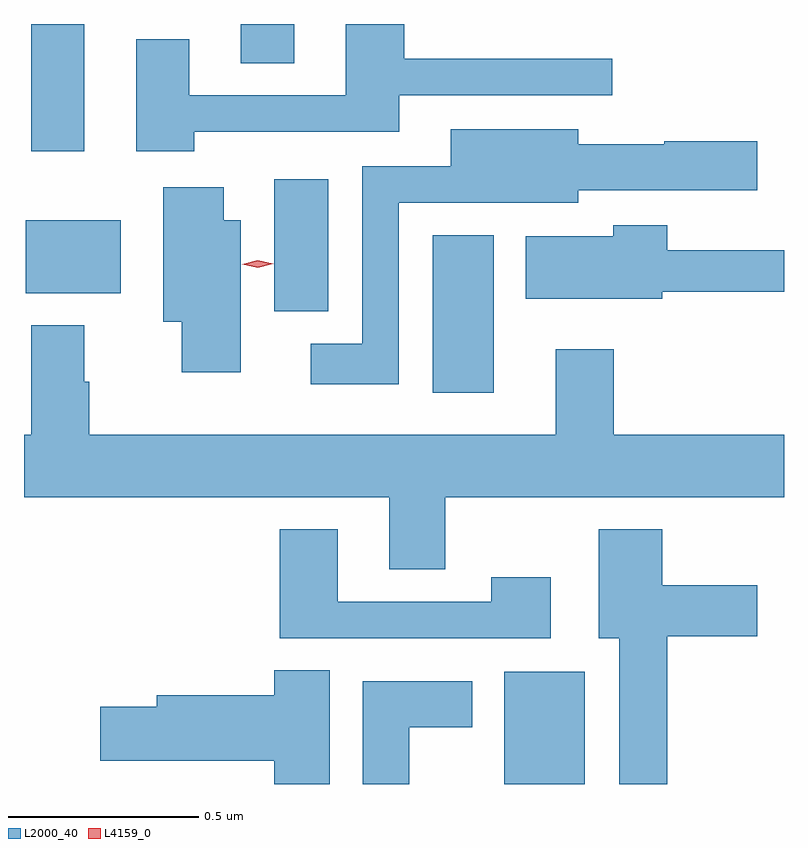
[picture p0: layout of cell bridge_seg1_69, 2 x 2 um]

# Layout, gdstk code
import gdstk
lib = gdstk.Library(unit=1e-6, precision=1e-09)
def R(c, l, rs):  # rectangles x0, y0, x1, y1
    for r in rs: c.add(gdstk.rectangle(r[:2], r[2:], *l))
def P(c, l, *ps):  # polygons
    for p in ps: c.add(gdstk.Polygon(p, *l))
L2000_40 = (2000, 40)
L4159_0 = (4159, 0)

bridge_seg1_69 = lib.new_cell('bridge_seg1_69')
R(bridge_seg1_69, L2000_40, [(503.84,581.613,504.052,581.908), (503.651,582.642,503.812,583.057), (503.234,582.857,503.377,583.204), (502.58,582.905,502.831,583.096), (502.595,583.278,502.735,583.613), (503.147,583.51,503.287,583.613)])
P(bridge_seg1_69, L2000_40, [(503.024,583.329),(503.563,583.329),(503.563,583.425),(504.124,583.425),(504.124,583.522),(503.576,583.522),(503.576,583.613),(503.423,583.613),(503.423,583.425),(503.011,583.425),(503.011,583.573),(502.871,583.573),(502.871,583.278),(503.024,583.278)],
  [(503.562,583.143),(503.808,583.143),(503.808,583.142),(504.034,583.142),(504.034,583.175),(504.505,583.175),(504.505,583.305),(504.261,583.305),(504.261,583.297),(504.034,583.297),(504.034,583.336),(503.699,583.336),(503.699,583.239),(503.466,583.239),(503.466,582.772),(503.331,582.772),(503.331,582.665),(503.562,582.665)],
  [(503.146,583.096),(503.101,583.096),(503.101,583.183),(502.943,583.183),(502.943,582.83),(502.991,582.83),(502.991,582.696),(503.146,582.696)],
  [(504.256,582.909),(504.576,582.909),(504.576,583.018),(504.269,583.018),(504.269,583.084),(504.127,583.084),(504.127,583.054),(503.897,583.054),(503.897,582.89),(504.256,582.89)],
  [(503.685,582.368),(504.576,582.368),(504.576,582.532),(504.128,582.532),(504.128,582.757),(503.975,582.757),(503.975,582.532),(502.748,582.532),(502.748,582.671),(502.735,582.671),(502.735,582.82),(502.595,582.82),(502.595,582.532),(502.576,582.532),(502.576,582.368),(503.537,582.368),(503.537,582.178),(503.685,582.178)],
  [(503.962,582.157),(503.806,582.157),(503.806,582.093),(503.401,582.093),(503.401,582.283),(503.249,582.283),(503.249,581.997),(503.962,581.997)],
  [(504.269,582.002),(504.505,582.002),(504.505,582.136),(504.256,582.136),(504.256,582.283),(504.089,582.283),(504.089,581.996),(504.143,581.996),(504.143,581.613),(504.269,581.613)],
  [(503.38,581.912),(503.234,581.912),(503.234,581.846),(502.925,581.846),(502.925,581.816),(502.776,581.816),(502.776,581.674),(503.234,581.674),(503.234,581.613),(503.38,581.613)],
  [(503.59,581.762),(503.755,581.762),(503.755,581.884),(503.468,581.884),(503.468,581.613),(503.59,581.613)])
P(bridge_seg1_69, L4159_0, [(503.191,582.971),(503.15,582.981),(503.15,582.981),(503.15,582.981),(503.191,582.991),(503.232,582.982),(503.232,582.982),(503.232,582.982)])

lib.write_gds('bridge_seg1_69.gds')
